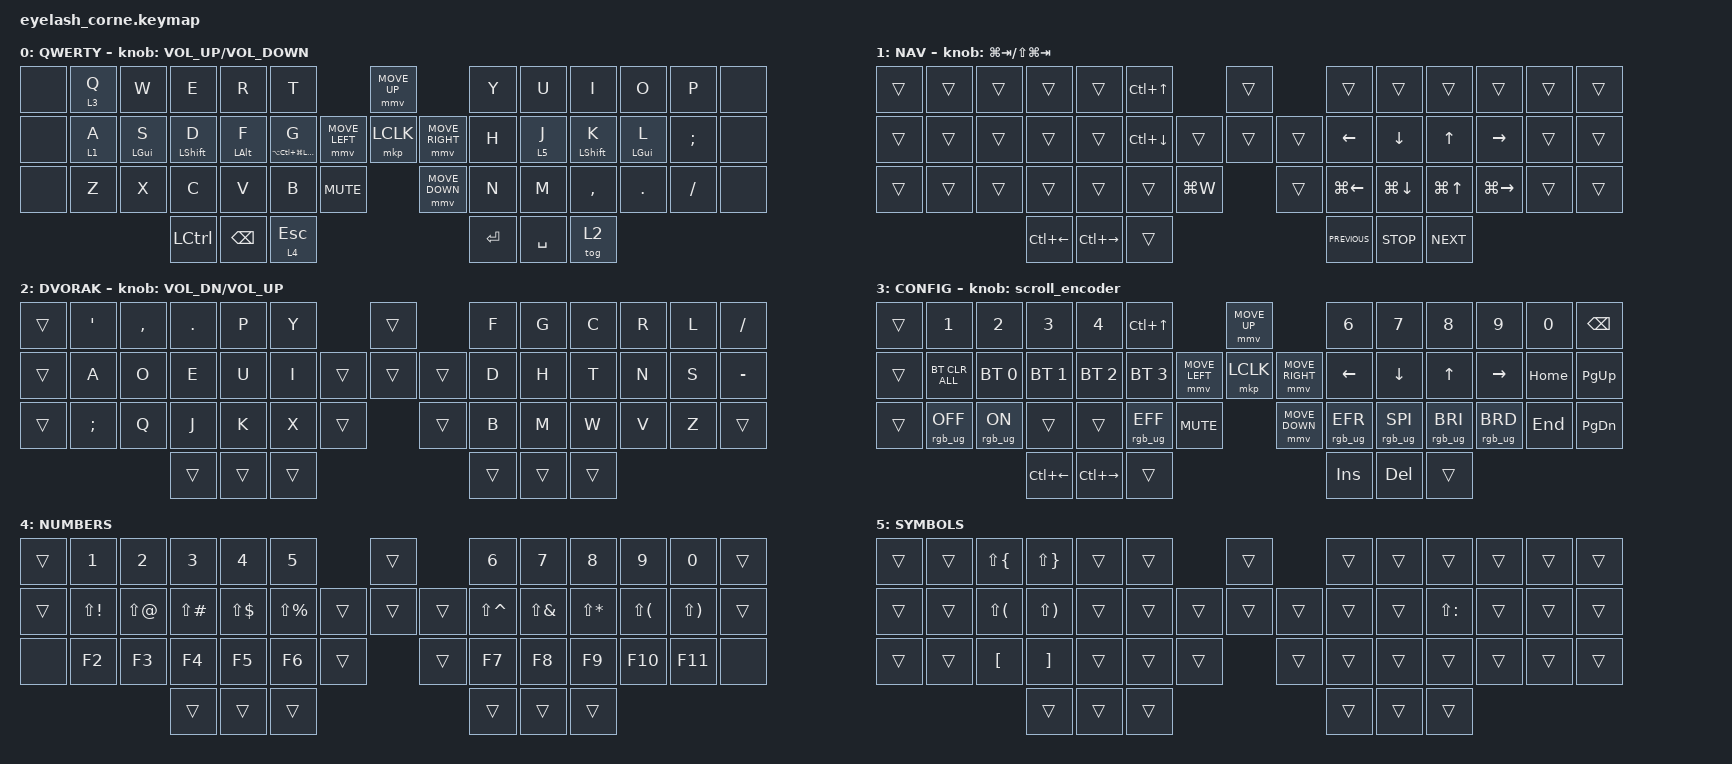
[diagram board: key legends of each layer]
#include <dt-bindings/zmk/mouse.h>
#include <input/processors.dtsi>
#include <behaviors.dtsi>
#include <dt-bindings/zmk/bt.h>
#include <dt-bindings/zmk/keys.h>
#include <dt-bindings/zmk/pointing.h>
#include <dt-bindings/zmk/rgb.h>

/*

   &mmv_input_listener {
       input-processors = <&zip_xy_scaler 2 1>;
   };

   &msc_input_listener {
       input-processors = <&zip_xy_scaler 2 1>;
   };

 */

#define ZMK_MOUSE_DEFAULT_MOVE_VAL 1200  // 600
#define ZMK_MOUSE_DEFAULT_SCRL_VAL 20    // 10

/ {
    behaviors {
        hm: homerow_mods {
            compatible = "zmk,behavior-hold-tap";
            #binding-cells = <2>;
            tapping-term-ms = <200>;
            quick-tap-ms = <125>;
            flavor = "tap-preferred";
            bindings = <&kp>, <&kp>;
        };
    };

    rgb_encoder: rgb_encoder {
        compatible = "zmk,behavior-sensor-rotate";
        #sensor-binding-cells = <0>;
        bindings = <&rgb_ug RGB_BRI>, <&rgb_ug RGB_BRD>;
    };

    scroll_encoder: scroll_encoder {
        compatible = "zmk,behavior-sensor-rotate";
        #sensor-binding-cells = <0>;
        bindings = <&msc SCRL_DOWN>, <&msc SCRL_UP>;

        tap-ms = <30>;
    };

    combos {
        compatible = "zmk,combos";

        ctab {
            bindings = <&kp TAB>;
            key-positions = <2 3>;
        };

        cmin {
            bindings = <&hm LG(LEFT_SHIFT) MINUS>;
            key-positions = <15 16>;
        };

        cbtick {
            bindings = <&kp GRAVE>;
            key-positions = <30 31>;
        };

        csq {
            bindings = <&kp LEFT_BRACE>;
            key-positions = <3 4>;
        };

        cparen {
            bindings = <&hm LS(LEFT_ALT) LEFT_PARENTHESIS>;
            key-positions = <16 17>;
        };

        csqparen {
            bindings = <&kp LEFT_BRACKET>;
            key-positions = <31 32>;
        };

        curly {
            bindings = <&kp RIGHT_BRACE>;
            key-positions = <4 5>;
        };

        paren {
            bindings = <&kp RIGHT_PARENTHESIS>;
            key-positions = <17 18>;
        };

        brack {
            bindings = <&kp RIGHT_BRACKET>;
            key-positions = <32 33>;
        };

        slash {
            bindings = <&kp BACKSLASH>;
            key-positions = <10 9>;
        };

        quote {
            bindings = <&kp SINGLE_QUOTE>;
            key-positions = <25 24>;
        };

        eq {
            bindings = <&kp EQUAL>;
            key-positions = <39 38>;
        };

        bloq {
            bindings = <&kp CAPSLOCK>;
            key-positions = <15 14>;
        };

        colon {
            bindings = <&kp COLON>;
            key-positions = <23 24>;
        };
    };

    keymap {
        compatible = "zmk,keymap";

        default_layer {
            display-name = "QWERTY";
            bindings = <
&none  &lt 3 Q  &kp W       &kp E         &kp R       &kp T                                                   &mmv MOVE_UP                     &kp Y      &kp U      &kp I         &kp O       &kp P     &none
&none  &lt 1 A  &hm LGUI S  &hm LSHIFT D  &hm LALT F  &hm LA(LC(LG(LSHIFT))) G                &mmv MOVE_LEFT  &mkp LCLK       &mmv MOVE_RIGHT  &kp H      &lt 5 J    &hm LSHIFT K  &hm LGUI L  &kp SEMI  &none
&none  &kp Z    &kp X       &kp C         &kp V       &kp B                     &kp K_MUTE                    &mmv MOVE_DOWN                   &kp N      &kp M      &kp COMMA     &kp DOT     &kp FSLH  &none
                            &kp LCTRL     &kp BSPC    &lt 4 ESC                                                                                &kp ENTER  &kp SPACE  &tog 2
            >;

            sensor-bindings = <&inc_dec_kp C_VOLUME_UP C_VOLUME_DOWN>;
        };

        navigation {
            bindings = <
&trans  &trans  &trans  &trans              &trans         &kp LC(UP_ARROW)                       &trans          &trans          &trans        &trans      &trans         &trans  &trans
&trans  &trans  &trans  &trans              &trans         &kp LC(DOWN)                   &trans  &trans  &trans  &kp LEFT        &kp DOWN      &kp UP      &kp RIGHT      &trans  &trans
&trans  &trans  &trans  &trans              &trans         &trans            &kp LG(W)            &trans          &kp LG(LEFT)    &kp LG(DOWN)  &kp LG(UP)  &kp LG(RIGHT)  &trans  &trans
                        &kp LC(LEFT_ARROW)  &kp LC(RIGHT)  &trans                                                 &kp C_PREVIOUS  &kp C_STOP    &kp C_NEXT
            >;

            label = "NAV";
            sensor-bindings = <&inc_dec_kp LG(TAB) LS(LG(TAB))>;
        };

        dvorak {
            bindings = <
&trans  &kp APOS  &kp COMMA  &kp DOT  &kp P   &kp Y                     &trans          &kp F   &kp G   &kp C   &kp R  &kp L  &kp FSLH
&trans  &kp A     &kp O      &kp E    &kp U   &kp I             &trans  &trans  &trans  &kp D   &kp H   &kp T   &kp N  &kp S  &kp MINUS
&trans  &kp SEMI  &kp Q      &kp J    &kp K   &kp X   &trans            &trans          &kp B   &kp M   &kp W   &kp V  &kp Z  &trans
                             &trans   &trans  &trans                                    &trans  &trans  &trans
            >;

            label = "DVORAK";
            sensor-bindings = <&inc_dec_kp C_VOL_DN C_VOLUME_UP>;
        };

        config {
            display-name = "CONFIG";
            bindings = <
&trans  &kp N1           &kp N2          &kp N3        &kp N4         &kp LC(UP)                                     &mmv MOVE_UP                     &kp N6           &kp N7           &kp N8           &kp N9           &kp N0    &kp BSPC
&trans  &bt BT_CLR_ALL   &bt BT_SEL 0    &bt BT_SEL 1  &bt BT_SEL 2   &bt BT_SEL 3                   &mmv MOVE_LEFT  &mkp LCLK       &mmv MOVE_RIGHT  &kp LEFT         &kp DOWN         &kp UP           &kp RIGHT        &kp HOME  &kp PG_UP
&trans  &rgb_ug RGB_OFF  &rgb_ug RGB_ON  &trans        &trans         &rgb_ug RGB_EFF  &kp C_MUTE                    &mmv MOVE_DOWN                   &rgb_ug RGB_EFR  &rgb_ug RGB_SPI  &rgb_ug RGB_BRI  &rgb_ug RGB_BRD  &kp END   &kp PG_DN
                                         &kp LC(LEFT)  &kp LC(RIGHT)  &trans                                                                          &kp INS          &kp DEL          &trans
            >;

            sensor-bindings = <&scroll_encoder>;
        };

        numbers {
            bindings = <
&trans  &kp N1        &kp N2      &kp N3         &kp N4        &kp N5                           &trans          &kp N6         &kp N7        &kp N8        &kp N9        &kp N0        &trans
&trans  &kp LS(EXCL)  &kp LS(AT)  &kp LS(POUND)  &kp LS(DLLR)  &kp LS(PRCNT)            &trans  &trans  &trans  &kp LS(CARET)  &kp LS(AMPS)  &kp LS(STAR)  &kp LS(LPAR)  &kp LS(RPAR)  &trans
&none   &kp F2        &kp F3      &kp F4         &kp F5        &kp F6         &trans            &trans          &kp F7         &kp F8        &kp F9        &kp F10       &kp F11       &none
                                  &trans         &trans        &trans                                           &trans         &trans        &trans
            >;

            label = "NUMBERS";
        };

        symbols {
            bindings = <
&trans  &trans  &kp LS(LBRC)  &kp LS(RBRC)  &trans  &trans                    &trans          &trans  &trans  &trans         &trans  &trans  &trans
&trans  &trans  &kp LS(LPAR)  &kp LS(RPAR)  &trans  &trans            &trans  &trans  &trans  &trans  &trans  &kp LS(COLON)  &trans  &trans  &trans
&trans  &trans  &kp LBKT      &kp RBKT      &trans  &trans  &trans            &trans          &trans  &trans  &trans         &trans  &trans  &trans
                              &trans        &trans  &trans                                    &trans  &trans  &trans
            >;

            label = "SYMBOLS";
        };
    };
};
